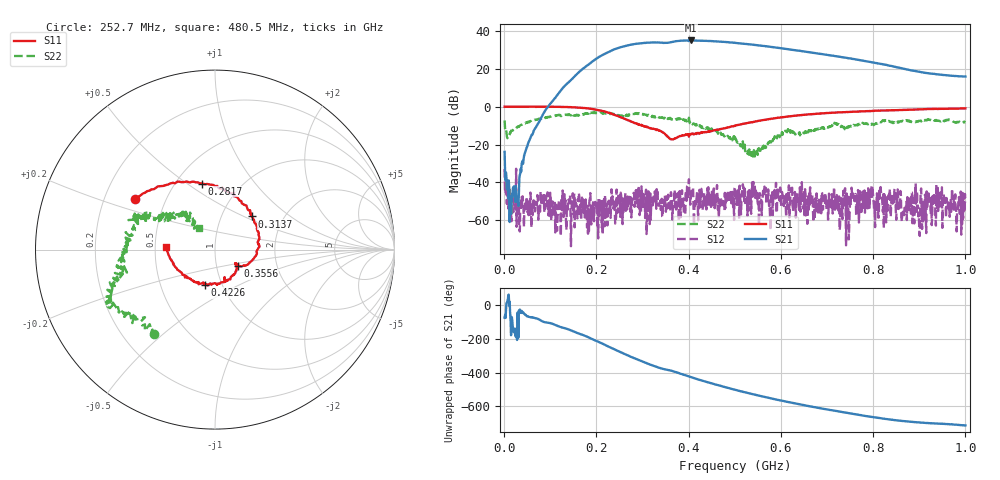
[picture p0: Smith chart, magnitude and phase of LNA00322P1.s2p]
! Created with skrf 1.9.0 (http://scikit-rf.org).
# Hz S RI R 50.0
!freq ReS11 ImS11 ReS21 ImS21 ReS12 ImS12 ReS22 ImS22
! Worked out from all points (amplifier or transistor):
!   1001 points, 1 MHz to 1 GHz, reference 50 ohm
!   highest |S21| = 34.9 dB at 404.6 MHz (marker M1)
!   |S21| within 3 dB of that: 261.6 MHz to 565.7 MHz (304.1 MHz wide, 73.5 % of centre)
!   unconditionally stable (mu >= 1): start of sweep to 78.84 MHz; 291.9 MHz to 400.2 MHz; 400.9 MHz to end of sweep (the widest 3 of 34)
!   at 166.8 MHz: K = 3.53, MAG = 31.1 dB, |S12| = -59.9 dB
!   at 500.5 MHz: K = 1.40, MAG = 34.2 dB, |S12| = -42.2 dB
!   at 1 GHz: K = 4.66, MAG = 23.5 dB, |S12| = -50.5 dB
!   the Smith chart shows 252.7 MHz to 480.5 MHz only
!   S11 on the Smith chart (normalised r, x): 252.7 MHz: 0.33, +0.26; 281.7 MHz: 0.67, +0.57; 313.7 MHz: 1.39, +0.56; 355.6 MHz: 1.27, -0.24; 422.6 MHz: 0.83, -0.34; 480.5 MHz: 0.57, +0.02
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1000000  0.9956 0.0159  0.0159 -0.0622  -0.011 0.0198  0.309 0.3016
1.08892e8  0.5069 -0.8553  -0.7296 -1.44  -0.00124 0.00172  0.4312 -0.3651
1.67833e8  -0.2594 -0.8954  -9.347 -0.7926  0.00303 -0.000502  0.0543 -0.6371
2.13787e8  -0.7052 -0.2961  -14.95 17.7  -0.000392 0.00014  -0.2153 -0.6737
2.32768e8  -0.6471 0.0238  -7.802 29.29  -0.000639 -0.00656  -0.2482 -0.6029
2.52748e8  -0.4454 0.2801  6.312 36.62  -0.00391 -0.0037  -0.3391 -0.4707
2.81719e8  -0.0718 0.3679  31.48 31.62  -0.00486 -0.00156  -0.5492 -0.3238
3.13687e8  0.2062 0.1845  48.19 8.391  -6.2e-05 0.00107  -0.5621 -0.1924
3.34666e8  0.2385 0.00256  48.36 -8.924  -0.00243 -0.000143  -0.5213 -0.0608
3.55645e8  0.1273 -0.0933  44.17 -20.63  0.00273 0.00389  -0.4975 0.038
3.75625e8  0.1205 -0.0969  41 -35.03  0.000735 0.00492  -0.4563 0.1731
4.04596e8  0.0313 -0.1846  21.81 -51.36  0.00312 0.00246  -0.3249 0.1642
4.22578e8  -0.0552 -0.1962  7.526 -54.6  -0.00244 0.00174  -0.2242 0.2092
4.49551e8  -0.1865 -0.1286  -12.85 -52.01  0.00525 0.000718  -0.1624 0.2112
4.8052e8  -0.2727 0.0161  -30.52 -40.68  0.00407 -4.64e-05  -0.0876 0.118
5.005e8  -0.2804 0.1318  -37.94 -30.26  0.000216 -0.00778  -0.1229 0.0952
5.4046e8  -0.2013 0.3396  -42.01 -8.597  0.00905 -0.00489  -0.049 0.038
5.88412e8  0.00874 0.4983  -34.54 11.63  0.00153 -0.00419  -0.1187 -0.0936
6.67333e8  0.3916 0.497  -12.62 23.31  0.00224 0.00185  -0.2357 -0.0312
7.53247e8  0.6719 0.2873  3.956 17.96  -0.00701 0.00196  -0.316 0.0433
8.34166e8  0.798 0.0253  8.775 8.458  -0.00317 0.0036  -0.4107 0.088
1e9  0.733 -0.5231  6.192 0.8638  -0.00113 -0.00278  -0.1498 0.3503
